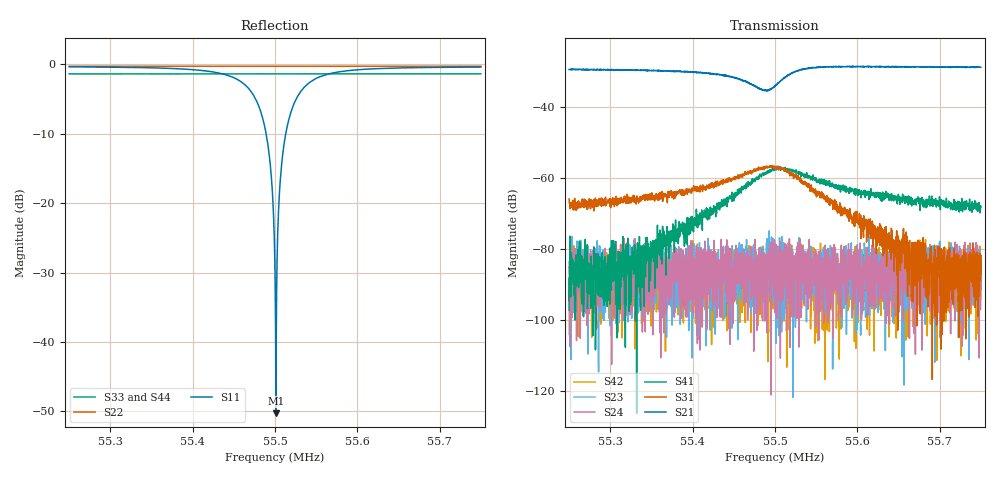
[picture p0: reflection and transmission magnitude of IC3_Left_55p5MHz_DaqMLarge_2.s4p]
#  HZ  S  DB  R  50.00
! Rohde & Schwarz Vector Network Analyzer
! Rohde-Schwarz,ZNB8-4Port,1311601044102961,2.82
! Created: UTC 2/12/2019, 11:56:21 AM
! freq[Hz]  db:S11  ang:S11  db:S12  ang:S12  db:S13  ang:S13  db:S14  ang:S14
!  db:S21  ang:S21  db:S22  ang:S22  db:S23  ang:S23  db:S24  ang:S24
!  db:S31  ang:S31  db:S32  ang:S32  db:S33  ang:S33  db:S34  ang:S34
!  db:S41  ang:S41  db:S42  ang:S42  db:S43  ang:S43  db:S44  ang:S44
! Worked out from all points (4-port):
!   2001 points, 55.25 MHz to 55.75 MHz, reference 50 ohm
!   strongest paths, dB at 55.25 MHz, 55.375 MHz, 55.5 MHz, 55.625 MHz, 55.75 MHz:
!     S21: -29.6, -30.0, -34.2, -28.8, -28.9
!     S31: -65.9, -64.6, -56.7, -74.9, -87.0
!     S41: -97.2, -77.4, -57.8, -64.8, -68.0
!     S24: -85.1, -87.8, -82.0, -89.1, -91.3
!     S23: -83.6, -101.4, -84.5, -97.3, -89.6
!     S42: -94.5, -86.7, -84.6, -92.1, -94.0
!   lowest |S11| = -50.3 dB at 55.5012 MHz (marker M1), VSWR 1.01, Z = 50.3 - j0.106 ohm
!   |S11| at or under -10 dB: 55.4892 MHz to 55.51304 MHz (23.84 kHz wide, 0.0429 % of centre)
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5.525e7  -0.36 -107.0  -29.59 87.5  -69.24 -129.0  -93.71 2.7
         -29.55 87.7  -0.27 101.5  -83.56 -32.2  -85.06 -75.9
         -65.94 -126.0  -83.70 133.2  -1.38 41.8  -87.81 125.6
         -97.18 90.4  -94.49 -137.1  -79.99 -150.1  -1.37 35.5
5.546575e7  -3.20 -156.2  -33.05 71.6  -58.63 -166.1  -62.54 6.3
            -33.08 73.4  -0.28 97.6  -83.26 -1.3  -80.55 126.6
            -58.72 -167.4  -95.50 81.0  -1.37 39.3  -89.37 -132.1
            -62.26 -0.5  -82.81 -138.2  -84.10 -4.5  -1.36 32.9
5.549075e7  -11.09 173.4  -35.33 94.8  -57.11 161.7  -58.40 -26.8
            -35.49 95.9  -0.27 97.1  -87.07 -26.5  -81.27 123.2
            -57.20 165.4  -83.85 19.6  -1.37 39.0  -85.57 -146.0
            -58.49 -27.0  -82.24 -167.6  -87.14 139.2  -1.36 32.6
5.550125e7  -50.29 -20.2  -33.96 109.8  -56.94 146.4  -57.81 -44.5
            -33.80 109.8  -0.28 96.9  -106.49 45.0  -83.46 87.9
            -56.84 149.2  -89.73 103.6  -1.37 38.9  -88.32 15.1
            -57.56 -46.9  -83.83 167.4  -87.88 88.5  -1.36 32.4
5.55115e7  -11.10 -41.2  -31.87 112.2  -57.34 130.4  -57.40 -62.4
           -31.76 112.7  -0.27 96.7  -80.52 -0.7  -83.90 79.4
           -57.57 131.9  -89.30 15.5  -1.37 38.7  -97.67 36.8
           -57.50 -60.9  -90.39 106.1  -89.46 -151.8  -1.36 32.3
5.553625e7  -3.21 -71.6  -29.32 103.4  -61.58 105.8  -58.97 -93.4
            -29.38 103.1  -0.28 96.3  -80.64 -120.7  -84.19 -159.2
            -61.12 96.6  -87.95 -135.2  -1.37 38.5  -89.27 -44.3
            -58.90 -89.8  -86.58 13.8  -86.83 160.3  -1.36 32.0
5.575e7  -0.39 -121.2  -28.93 76.2  -84.71 -159.4  -66.78 -128.8
         -28.92 75.4  -0.27 92.5  -89.62 41.8  -91.28 113.7
         -86.98 -81.7  -78.88 138.6  -1.36 36.0  -80.26 38.8
         -67.97 -127.7  -93.98 -107.6  -79.89 -39.6  -1.36 29.5
